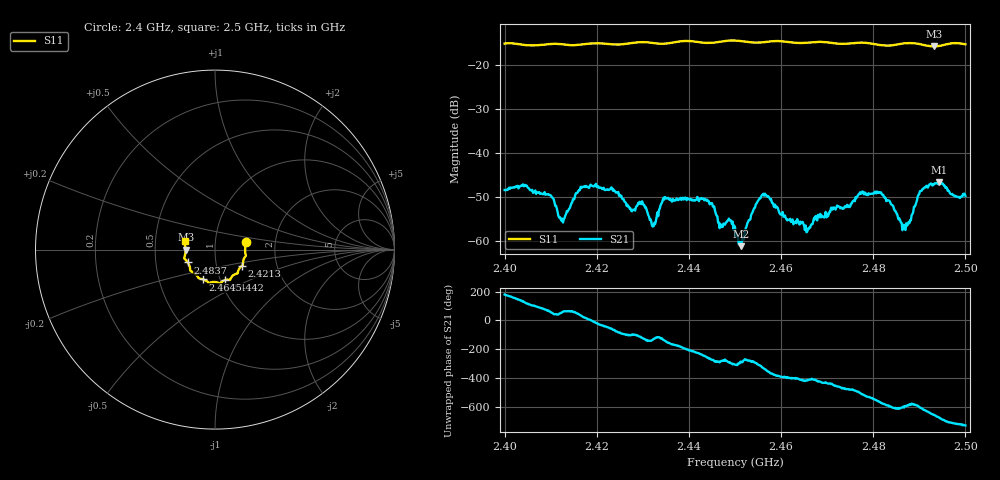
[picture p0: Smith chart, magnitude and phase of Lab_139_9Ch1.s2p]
# Hz S RI R 50
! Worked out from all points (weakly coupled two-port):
!   601 points, 2.4 GHz to 2.5 GHz, reference 50 ohm
!   highest |S21| = -46.68 dB at 2.4943 GHz (marker M1); lowest = -61.2 dB at 2.4513 GHz (marker M2)
!   lowest |S11| = -15.7 dB at 2.4932 GHz (marker M3), VSWR 1.39, Z = 36 - j0.0476 ohm
!   |S11| at or under -10 dB: start of sweep to end of sweep
!   S12 and S22 are empty: the file has one direction only
!   S11 on the Smith chart (normalised r, x): 2.4 GHz: 1.41, +0.12; 2.4213 GHz: 1.33, -0.25; 2.4442 GHz: 1.05, -0.37; 2.4645 GHz: 0.83, -0.29; 2.4837 GHz: 0.73, -0.11; 2.5 GHz: 0.71, +0.07
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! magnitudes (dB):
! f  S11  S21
! 2.4 GHz  -15.1  -48.4
! 2.4097 GHz  -15.2  -49.6
! 2.4125 GHz  -15.3  -54.9
! 2.4167 GHz  -15.3  -47.7
! 2.4213 GHz  -15.1  -48.2
! 2.4298 GHz  -14.8  -51.0
! 2.4322 GHz  -15.0  -56.7
! 2.4333 GHz  -15.1  -54.4
! 2.435 GHz  -15.1  -50.2
! 2.4442 GHz  -15.0  -51.0
! 2.45 GHz  -14.4  -56.9
! 2.4513 GHz  -14.5  -61.2
! 2.4562 GHz  -14.8  -49.3
! 2.4645 GHz  -15.0  -55.9
! 2.4667 GHz  -14.8  -56.2
! 2.4773 GHz  -14.9  -49.3
! 2.4833 GHz  -15.6  -50.8
! 2.4837 GHz  -15.5  -51.1
! 2.4868 GHz  -15.0  -57.3
! 2.4932 GHz  -15.7  -47.2
! 2.4943 GHz  -15.6  -46.7
! 2.5 GHz  -15.2  -49.8
